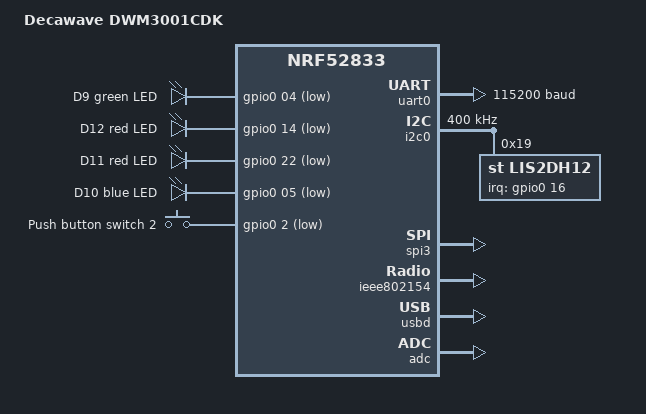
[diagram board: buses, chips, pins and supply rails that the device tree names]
/*
 * Copyright (c) 2019 Stéphane D'Alu
 *
 * SPDX-License-Identifier: Apache-2.0
 */

/dts-v1/;
#include <nordic/nrf52833_qdaa.dtsi>
#include "decawave_dwm3001cdk-pinctrl.dtsi"
#include <zephyr/dt-bindings/input/input-event-codes.h>

/ {
	model = "Decawave DWM3001CDK";
	compatible = "decawave,dwm3001";

	chosen {
		zephyr,console = &uart0;
		zephyr,shell-uart = &uart0;
		zephyr,uart-mcumgr = &uart0;
		zephyr,bt-mon-uart = &uart0;
		zephyr,bt-c2h-uart = &uart0;
		zephyr,sram = &sram0;
		zephyr,flash = &flash0;
		zephyr,code-partition = &slot0_partition;
		zephyr,ieee802154 = &ieee802154;
	};

	leds {
		compatible = "gpio-leds";

		// led from top of board down
		// D20: something related to jlink, red
		// D13: DW3000 tx(red)/rx(green)
		led0: led_0 {
			gpios = <&gpio0 04 GPIO_ACTIVE_LOW>;
			label = "D9 green LED";
		};

		led1: led_1 {
			gpios = <&gpio0 14 GPIO_ACTIVE_LOW>;
			label = "D12 red LED";
		};

		led2: led_2 {
			gpios = <&gpio0 22 GPIO_ACTIVE_LOW>;
			label = "D11 red LED";
		};

		led3: led_3 {
			gpios = <&gpio0 05 GPIO_ACTIVE_LOW>;
			label = "D10 blue LED";
		};
	};

	buttons {
		compatible = "gpio-keys";

		// SW1 is connected to P0.18, which by default is nRESET and
		// will reset the board
		button2: button_2 {
			gpios = <&gpio0 2 (GPIO_PULL_UP | GPIO_ACTIVE_LOW)>;
			label = "Push button switch 2";
			zephyr,code = <INPUT_KEY_1>;
		};
	};

	/* These aliases are provided for compatibility with samples */
	aliases {
		sw0 = &button2;
		led0 = &led0;
		led1 = &led1;
		led2 = &led2;
		led3 = &led3;
		watchdog0 = &wdt0;
		accel0 = &lis2dh12;
	};
};

&uicr {
	gpio-as-nreset;
};

&gpiote {
	status = "okay";
};

&gpio0 {
	status = "okay";
};

&uart0 {
	status = "okay";
	compatible = "nordic,nrf-uart";
	current-speed = <115200>;
	pinctrl-0 = <&uart0_default>;
	pinctrl-1 = <&uart0_sleep>;
	pinctrl-names = "default", "sleep";
};

&gpio1 {
	status = "okay";
};

&i2c0 {
	compatible = "nordic,nrf-twim";
	status = "okay";
	clock-frequency = <I2C_BITRATE_FAST>;

	pinctrl-0 = <&i2c0_default>;
	pinctrl-1 = <&i2c0_sleep>;
	pinctrl-names = "default", "sleep";

	lis2dh12: lis2dh12@19 {
		compatible = "st,lis2dh12", "st,lis2dh";
		reg = <0x19>;
		irq-gpios = <&gpio0 16 GPIO_ACTIVE_HIGH>;
	};
};

&spi3 {
	compatible = "nordic,nrf-spim";
	status = "okay";
	cs-gpios = <&gpio1 6 GPIO_ACTIVE_LOW>;

	pinctrl-0 = <&spi3_default>;
	pinctrl-1 = <&spi3_sleep>;
	pinctrl-names = "default", "sleep";
};

&ieee802154 {
	status = "okay";
};

&flash0 {
	partitions {
		compatible = "fixed-partitions";
		#address-cells = <1>;
		#size-cells = <1>;

		boot_partition: partition@0 {
			label = "mcuboot";
			reg = <0x00000000 0xC000>;
		};

		slot0_partition: partition@c000 {
			label = "image-0";
			reg = <0x0000C000 0x38000>;
		};

		slot1_partition: partition@44000 {
			label = "image-1";
			reg = <0x00044000 0x36000>;
		};

		storage_partition: partition@7a000 {
			label = "storage";
			reg = <0x0007A000 0x00006000>;
		};
	};
};

zephyr_udc0: &usbd {
	compatible = "nordic,nrf-usbd";
	status = "okay";
};

&reg1 {
	regulator-initial-mode = <NRF5X_REG_MODE_DCDC>;
};

&adc {
	status = "okay";
};
